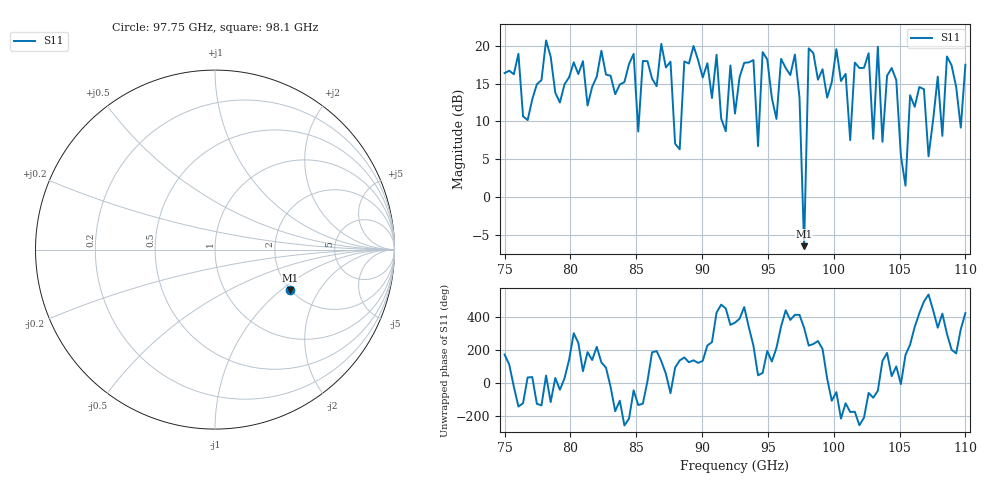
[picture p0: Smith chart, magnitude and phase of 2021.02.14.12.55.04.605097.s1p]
!Created with skrf (http://scikit-rf.org).
# GHz S RI R 50.0
!freq ReS11 ImS11
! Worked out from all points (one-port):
!   101 points, 75 GHz to 110 GHz, reference 50 ohm
!   lowest |S11| = -6.5 dB at 97.75 GHz (marker M1), VSWR 2.80, Z = 99.6 - j57.6 ohm
!   |S11| at or under -10 dB: nowhere
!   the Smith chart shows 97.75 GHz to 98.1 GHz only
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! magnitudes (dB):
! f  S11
! 75 GHz  16.4
! 79.55 GHz  14.9
! 83.75 GHz  14.9
! 84.8 GHz  18.9
! 85.15 GHz  8.7
! 86.9 GHz  20.2
! 88.3 GHz  6.3
! 89.35 GHz  20.0
! 92.5 GHz  11.0
! 97.05 GHz  18.8
! 97.75 GHz  -6.5
! 98.1 GHz  19.7
! 100.2 GHz  19.5
! 101.2 GHz  7.5
! 101.6 GHz  17.8
! 102.7 GHz  19.0
! 103 GHz  7.7
! 103.3 GHz  19.9
! 103.7 GHz  7.3
! 104.4 GHz  17.1
! 105.5 GHz  1.5
! 105.8 GHz  13.5
! 107.2 GHz  5.4
! 107.9 GHz  15.9
! 108.2 GHz  8.1
! 108.6 GHz  18.6
! 109.7 GHz  9.2
! 110 GHz  17.5
